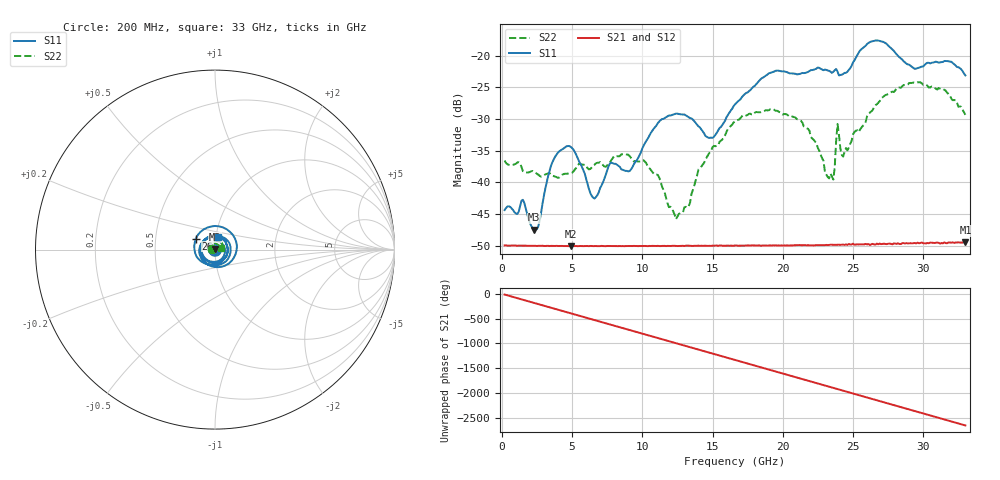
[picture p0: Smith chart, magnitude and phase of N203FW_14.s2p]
# GHZ S RI R 50
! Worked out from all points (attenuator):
!   329 points, 200 MHz to 33 GHz, reference 50 ohm
!   highest |S21| = -49.45 dB at 33 GHz (marker M1); lowest = -50.1 dB at 4.9 GHz (marker M2)
!   lowest |S11| = -47.5 dB at 2.3 GHz (marker M3), VSWR 1.01, Z = 50.1 + j0.399 ohm
!   |S11| at or under -10 dB: start of sweep to end of sweep
!   |S22| runs from -45.8 to -24.2 dB; largest |S21 - S12| = 8.8e-05
!   S11 on the Smith chart (normalised r, x): 200 MHz: 1.01, +0.00; 26 GHz: 0.80, +0.10; 33 GHz: 1.03, +0.14
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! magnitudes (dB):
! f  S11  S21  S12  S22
! 200 MHz  -44.4  -50.0  -49.9  -36.6
! 1.5 GHz  -42.8  -50.0  -50.0  -38.2
! 2.3 GHz  -47.5  -50.0  -50.0  -38.3
! 3.6 GHz  -36.8  -50.0  -50.0  -39.0
! 4.9 GHz  -34.4  -50.1  -50.1  -38.6
! 5.7 GHz  -37.6  -50.1  -50.0  -37.2
! 6.6 GHz  -42.6  -50.1  -50.1  -37.2
! 7.7 GHz  -37.0  -50.0  -50.0  -36.9
! 8.8 GHz  -38.2  -50.1  -50.1  -35.5
! 11.2 GHz  -30.4  -50.1  -50.0  -39.2
! 12.4 GHz  -29.2  -50.0  -50.0  -45.8
! 15 GHz  -33.0  -50.0  -50.0  -34.4
! 16.6 GHz  -27.7  -50.0  -50.0  -30.4
! 19.3 GHz  -22.6  -49.9  -50.0  -28.4
! 22.1 GHz  -22.3  -49.9  -49.9  -33.1
! 23.6 GHz  -22.6  -49.9  -49.9  -39.6
! 23.9 GHz  -22.5  -49.9  -49.9  -30.8
! 24.3 GHz  -22.9  -49.8  -49.8  -35.9
! 26 GHz  -18.2  -49.8  -49.7  -29.6
! 27.6 GHz  -18.6  -49.7  -49.7  -26.0
! 29.8 GHz  -21.8  -49.6  -49.7  -24.2
! 33 GHz  -23.1  -49.5  -49.5  -29.3
